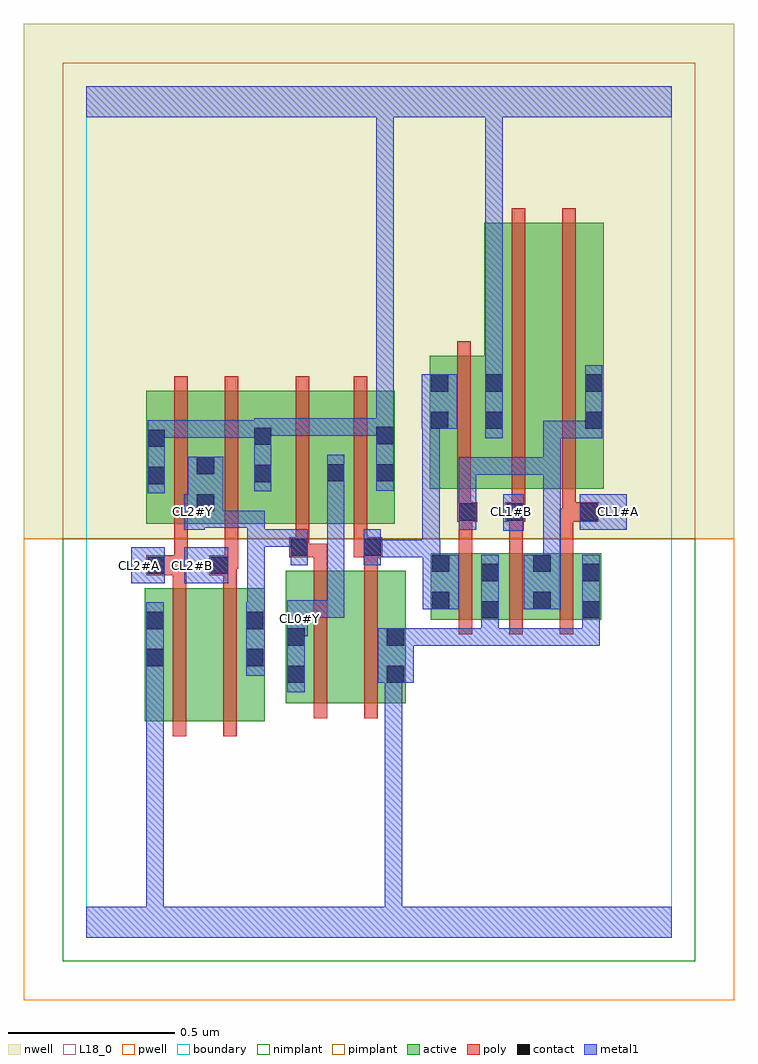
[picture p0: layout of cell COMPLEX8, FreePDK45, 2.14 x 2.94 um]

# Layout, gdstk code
import gdstk
lib = gdstk.Library(unit=1e-6, precision=1e-09)
def R(c, l, rs):  # rectangles x0, y0, x1, y1
    for r in rs: c.add(gdstk.rectangle(r[:2], r[2:], *l))
def A(c, l, x, y, w, h, nx, ny, dx, dy):  # array of equal rectangles
    R(c, l, [(x+i*dx, y+j*dy, x+i*dx+w, y+j*dy+h) for i in range(nx) for j in range(ny)])
active = (1, 0)
pwell = (2, 0)
nwell = (3, 0)
nimplant = (4, 0)
pimplant = (5, 0)
poly = (9, 0)
contact = (10, 0)
metal1 = (11, 0)
L18_0 = (18, 0)
boundary = (235, 0)

complex8 = lib.new_cell('COMPLEX8')
R(complex8, active, [(0.176,0.65,0.356,1.05), (0.176,0.65,0.236,1.05), (0.356,0.65,0.536,1.05), (0.6,0.704,0.78,1.104), (0.78,0.704,0.96,1.104), (0.476,0.756,0.536,1.05), (0.6,0.756,0.66,1.104), (0.9,0.756,0.96,1.104), (1.036,0.956,1.096,1.156), (1.036,0.956,1.244,1.156), (1.184,0.956,1.244,1.156), (1.184,0.956,1.4,1.156), (1.34,0.956,1.4,1.156), (1.34,0.956,1.548,1.156), (1.488,0.956,1.548,1.156), (0.18,1.244,0.24,1.644), (0.18,1.244,0.388,1.644), (0.328,1.244,0.388,1.644), (0.328,1.244,0.56,1.644), (0.5,1.244,0.56,1.644), (0.5,1.244,0.78,1.644), (0.72,1.244,0.78,1.644), (0.72,1.244,0.928,1.644), (0.868,1.244,0.928,1.644), (1.032,1.35,1.092,1.698), (1.032,1.35,1.256,1.75), (1.196,1.35,1.256,1.698), (1.196,1.35,1.376,2.15), (1.376,1.35,1.556,2.15), (1.496,1.35,1.556,2.044)])
R(complex8, pwell, [(-0.188,-0.188,1.948,1.2)])
R(complex8, nwell, [(-0.188,1.2,1.948,2.748)])
R(complex8, nimplant, [(-0.072,-0.072,1.832,1.2)])
R(complex8, pimplant, [(-0.072,1.2,1.832,2.632)])
A(complex8, poly, 1.12, 0.912, 0.04, 0.288, 3, 1, 0.152, 0)
A(complex8, poly, 1.12, 1.16, 0.04, 0.13, 3, 1, 0.152, 0)
R(complex8, poly, [(0.26,0.606,0.3,1.094), (0.412,0.606,0.452,1.094), (0.684,0.66,0.724,1.148), (0.836,0.66,0.876,1.148), (0.26,1.054,0.3,1.13), (0.412,1.054,0.452,1.13), (0.18,1.09,0.3,1.15), (0.37,1.09,0.452,1.15), (0.684,1.108,0.724,1.184), (0.836,1.108,0.876,1.184), (0.26,1.11,0.3,1.15), (0.26,1.11,0.304,1.15), (0.264,1.11,0.304,1.24), (0.412,1.11,0.452,1.15), (0.412,1.11,0.456,1.15), (0.416,1.11,0.456,1.24), (0.61,1.144,0.67,1.204), (0.63,1.144,0.67,1.184), (0.63,1.144,0.724,1.184), (0.804,1.144,0.89,1.204), (0.836,1.144,0.876,1.184), (0.836,1.144,0.876,1.184), (0.63,1.164,0.67,1.24), (0.804,1.164,0.844,1.24), (0.264,1.2,0.304,1.688), (0.416,1.2,0.456,1.688), (0.63,1.2,0.67,1.688), (0.804,1.2,0.844,1.688), (1.116,1.25,1.176,1.31), (1.12,1.25,1.16,1.29), (1.12,1.25,1.16,1.29), (1.26,1.25,1.32,1.31), (1.424,1.25,1.472,1.29), (1.432,1.25,1.472,1.29), (1.432,1.25,1.54,1.31), (1.116,1.27,1.156,1.346), (1.28,1.27,1.32,1.346), (1.28,1.27,1.32,1.31), (1.28,1.27,1.32,1.31), (1.432,1.27,1.472,1.346), (1.116,1.306,1.156,1.794), (1.28,1.306,1.32,2.194), (1.432,1.306,1.472,2.194)])
R(complex8, contact, [(0.604,0.766,0.656,0.818), (0.904,0.766,0.956,0.818), (0.18,0.816,0.232,0.868), (0.48,0.816,0.532,0.868), (0.604,0.878,0.656,0.93), (0.904,0.878,0.956,0.93), (0.18,0.928,0.232,0.98), (0.48,0.928,0.532,0.98), (1.188,0.96,1.24,1.012), (1.492,0.96,1.544,1.012), (1.04,0.988,1.092,1.04), (1.344,0.988,1.396,1.04), (1.188,1.072,1.24,1.124), (1.492,1.072,1.544,1.124), (0.184,1.094,0.236,1.146), (0.374,1.094,0.426,1.146), (1.04,1.1,1.092,1.152), (1.344,1.1,1.396,1.152), (0.614,1.148,0.666,1.2), (0.834,1.148,0.886,1.2), (1.12,1.254,1.172,1.306), (1.264,1.254,1.316,1.306), (1.484,1.254,1.536,1.306), (0.332,1.282,0.384,1.334), (0.184,1.364,0.236,1.416), (0.504,1.37,0.556,1.422), (0.724,1.372,0.776,1.424), (0.872,1.372,0.924,1.424), (0.332,1.394,0.384,1.446), (0.184,1.476,0.236,1.528), (0.504,1.482,0.556,1.534), (0.872,1.484,0.924,1.536), (1.036,1.53,1.088,1.582), (1.2,1.53,1.252,1.582), (1.5,1.53,1.552,1.582), (1.036,1.642,1.088,1.694), (1.2,1.642,1.252,1.694), (1.5,1.642,1.552,1.694)])
R(complex8, metal1, [(0,0,1.76,0.092), (0.18,0.04,0.232,0.092), (0.18,0.04,0.232,0.092), (0.18,0.04,0.232,0.092), (0.18,0.04,0.232,0.092), (0.18,0.04,0.232,0.092), (0.18,0.04,0.232,0.092), (0.18,0.04,0.232,0.092), (0.18,0.04,0.232,0.092), (0.18,0.04,0.232,0.092), (0.18,0.04,0.232,0.092), (0.18,0.04,0.232,0.092), (0.18,0.04,0.232,0.092), (0.18,0.04,0.232,0.84), (0.898,0.04,0.95,0.092), (0.898,0.04,0.95,0.092), (0.898,0.04,0.95,0.092), (0.898,0.04,0.95,0.092), (0.898,0.04,0.95,0.818), (0.604,0.738,0.656,0.958), (0.876,0.766,0.984,0.93), (0.898,0.766,0.95,0.818), (0.898,0.766,0.95,0.818), (0.898,0.766,0.95,0.818), (0.898,0.766,0.95,0.818), (0.898,0.766,0.95,0.818), (0.898,0.766,0.95,0.818), (0.898,0.766,0.95,0.818), (0.898,0.766,0.95,0.818), (0.18,0.788,0.232,1.008), (0.48,0.788,0.536,1.008), (0.932,0.878,1.062,0.93), (1.01,0.878,1.062,0.93), (1.01,0.878,1.062,0.93), (1.01,0.878,1.062,0.93), (1.01,0.878,1.062,0.93), (1.01,0.878,1.062,0.93), (1.01,0.878,1.172,0.93), (1.12,0.878,1.172,0.93), (1.12,0.878,1.24,0.93), (1.188,0.878,1.35,0.93), (1.188,0.878,1.24,1.152), (1.298,0.878,1.35,0.93), (1.298,0.878,1.35,0.93), (1.298,0.878,1.35,0.93), (1.298,0.878,1.544,0.93), (1.492,0.878,1.544,0.984), (0.604,0.906,0.656,0.958), (0.604,0.906,0.666,1.014), (1.492,0.932,1.544,0.984), (1.492,0.932,1.544,1.152), (0.484,0.956,0.536,1.008), (0.484,0.956,0.536,1.008), (0.484,0.956,0.536,1.228), (0.614,0.962,0.776,1.014), (0.724,0.962,0.776,1.014), (0.724,0.962,0.776,1.014), (0.724,0.962,0.776,1.014), (0.724,0.962,0.776,1.014), (0.724,0.962,0.776,1.014), (0.724,0.962,0.776,1.396), (1.012,0.988,1.12,1.152), (1.316,0.988,1.426,1.152), (0.134,1.066,0.236,1.174), (0.294,1.066,0.426,1.174), (1.012,1.1,1.064,1.196), (1.374,1.1,1.426,1.152), (1.374,1.1,1.426,1.152), (1.374,1.1,1.426,1.444), (0.614,1.12,0.666,1.228), (0.834,1.12,0.886,1.228), (0.834,1.144,1.062,1.196), (1.01,1.144,1.062,1.196), (1.01,1.144,1.062,1.196), (1.01,1.144,1.062,1.196), (1.01,1.144,1.062,1.196), (1.01,1.144,1.062,1.582), (1.01,1.144,1.064,1.196), (0.484,1.176,0.536,1.284), (0.484,1.176,0.666,1.228), (0.614,1.176,0.666,1.228), (0.614,1.176,0.666,1.228), (1.254,1.224,1.316,1.334), (0.294,1.226,0.356,1.334), (1.12,1.226,1.172,1.334), (1.484,1.226,1.626,1.334), (0.304,1.232,0.356,1.284), (0.304,1.232,0.356,1.284), (0.304,1.232,0.536,1.284), (0.304,1.282,0.356,1.334), (0.304,1.282,0.412,1.446), (1.12,1.282,1.172,1.334), (1.12,1.282,1.172,1.444), (0.184,1.336,0.236,1.556), (0.504,1.342,0.556,1.562), (0.724,1.344,0.776,1.452), (0.872,1.344,0.924,1.564), (1.12,1.392,1.426,1.444), (1.374,1.392,1.426,1.444), (1.374,1.392,1.426,1.444), (1.374,1.392,1.426,1.444), (1.374,1.392,1.426,1.554), (1.2,1.502,1.252,1.722), (1.374,1.502,1.426,1.554), (1.374,1.502,1.552,1.554), (1.5,1.502,1.552,1.554), (1.5,1.502,1.552,1.554), (1.5,1.502,1.552,1.722), (0.184,1.504,0.236,1.556), (0.184,1.504,0.236,1.556), (0.184,1.504,0.422,1.556), (0.37,1.504,0.422,1.556), (0.37,1.504,0.422,1.556), (0.37,1.504,0.422,1.556), (0.37,1.504,0.556,1.556), (0.504,1.504,0.556,1.556), (0.504,1.504,0.556,1.556), (0.504,1.51,0.776,1.562), (0.724,1.51,0.776,1.562), (0.724,1.51,0.776,1.562), (0.724,1.51,0.776,1.562), (0.724,1.51,0.924,1.562), (0.872,1.51,0.924,1.562), (0.872,1.51,0.924,1.562), (0.872,1.512,0.924,1.564), (0.872,1.512,0.924,1.564), (0.872,1.512,0.924,1.564), (0.872,1.512,0.924,1.564), (0.872,1.512,0.924,1.564), (0.872,1.512,0.924,1.564), (0.872,1.512,0.924,2.52), (1.008,1.53,1.116,1.694), (1.2,1.67,1.252,2.52), (0,2.468,1.76,2.56), (0.872,2.468,0.924,2.52), (0.872,2.468,0.924,2.52), (0.872,2.468,0.924,2.52), (0.872,2.468,0.924,2.52), (0.872,2.468,0.924,2.52), (0.872,2.468,0.924,2.52), (0.872,2.468,0.924,2.52), (0.872,2.468,0.924,2.52), (0.872,2.468,0.924,2.52), (0.872,2.468,0.924,2.52), (1.2,2.468,1.252,2.52), (1.2,2.468,1.252,2.52), (1.2,2.468,1.252,2.52), (1.2,2.468,1.252,2.52), (1.2,2.468,1.252,2.52), (1.2,2.468,1.252,2.52), (1.2,2.468,1.252,2.52), (1.2,2.468,1.252,2.52)])
R(complex8, L18_0, [(0,0,1.76,0.092), (0.18,0.04,0.232,0.092), (0.18,0.04,0.232,0.092), (0.18,0.04,0.232,0.092), (0.18,0.04,0.232,0.092), (0.18,0.04,0.232,0.092), (0.18,0.04,0.232,0.092), (0.18,0.04,0.232,0.092), (0.18,0.04,0.232,0.092), (0.18,0.04,0.232,0.092), (0.18,0.04,0.232,0.092), (0.18,0.04,0.232,0.092), (0.18,0.04,0.232,0.092), (0.18,0.04,0.232,0.84), (0.898,0.04,0.95,0.092), (0.898,0.04,0.95,0.092), (0.898,0.04,0.95,0.092), (0.898,0.04,0.95,0.092), (0.898,0.04,0.95,0.818), (0.604,0.738,0.656,0.958), (0.876,0.766,0.984,0.93), (0.898,0.766,0.95,0.818), (0.898,0.766,0.95,0.818), (0.898,0.766,0.95,0.818), (0.898,0.766,0.95,0.818), (0.898,0.766,0.95,0.818), (0.898,0.766,0.95,0.818), (0.898,0.766,0.95,0.818), (0.898,0.766,0.95,0.818), (0.18,0.788,0.232,1.008), (0.48,0.788,0.536,1.008), (0.932,0.878,1.062,0.93), (1.01,0.878,1.062,0.93), (1.01,0.878,1.062,0.93), (1.01,0.878,1.062,0.93), (1.01,0.878,1.062,0.93), (1.01,0.878,1.062,0.93), (1.01,0.878,1.172,0.93), (1.12,0.878,1.172,0.93), (1.12,0.878,1.24,0.93), (1.188,0.878,1.35,0.93), (1.188,0.878,1.24,1.152), (1.298,0.878,1.35,0.93), (1.298,0.878,1.35,0.93), (1.298,0.878,1.35,0.93), (1.298,0.878,1.544,0.93), (1.492,0.878,1.544,0.984), (0.604,0.906,0.656,0.958), (0.604,0.906,0.666,1.014), (1.492,0.932,1.544,0.984), (1.492,0.932,1.544,1.152), (0.614,0.934,0.666,0.986), (0.484,0.956,0.536,1.008), (0.484,0.956,0.536,1.008), (0.484,0.956,0.536,1.228), (0.614,0.962,0.776,1.014), (0.724,0.962,0.776,1.014), (0.724,0.962,0.776,1.014), (0.724,0.962,0.776,1.014), (0.724,0.962,0.776,1.014), (0.724,0.962,0.776,1.014), (0.724,0.962,0.776,1.396), (0.134,1.066,0.236,1.174), (0.294,1.066,0.426,1.174), (0.134,1.094,0.186,1.146), (0.294,1.094,0.346,1.146), (0.614,1.12,0.666,1.228), (0.484,1.176,0.536,1.284), (0.484,1.176,0.666,1.228), (0.614,1.176,0.666,1.228), (0.614,1.176,0.666,1.228), (1.254,1.224,1.316,1.334), (0.294,1.226,0.356,1.334), (1.484,1.226,1.626,1.334), (0.304,1.232,0.356,1.284), (0.304,1.232,0.356,1.284), (0.304,1.232,0.536,1.284), (0.294,1.254,0.346,1.306), (1.254,1.254,1.306,1.306), (1.574,1.254,1.626,1.306), (0.304,1.282,0.356,1.334), (0.304,1.282,0.412,1.446), (0.184,1.336,0.236,1.556), (0.504,1.342,0.556,1.562), (0.724,1.344,0.776,1.452), (0.872,1.344,0.924,1.564), (1.2,1.502,1.252,1.722), (0.184,1.504,0.236,1.556), (0.184,1.504,0.236,1.556), (0.184,1.504,0.422,1.556), (0.37,1.504,0.422,1.556), (0.37,1.504,0.422,1.556), (0.37,1.504,0.422,1.556), (0.37,1.504,0.556,1.556), (0.504,1.504,0.556,1.556), (0.504,1.504,0.556,1.556), (0.504,1.51,0.776,1.562), (0.724,1.51,0.776,1.562), (0.724,1.51,0.776,1.562), (0.724,1.51,0.776,1.562), (0.724,1.51,0.924,1.562), (0.872,1.51,0.924,1.562), (0.872,1.51,0.924,1.562), (0.872,1.512,0.924,1.564), (0.872,1.512,0.924,1.564), (0.872,1.512,0.924,1.564), (0.872,1.512,0.924,1.564), (0.872,1.512,0.924,1.564), (0.872,1.512,0.924,1.564), (0.872,1.512,0.924,2.52), (1.2,1.67,1.252,2.52), (0,2.468,1.76,2.56), (0.872,2.468,0.924,2.52), (0.872,2.468,0.924,2.52), (0.872,2.468,0.924,2.52), (0.872,2.468,0.924,2.52), (0.872,2.468,0.924,2.52), (0.872,2.468,0.924,2.52), (0.872,2.468,0.924,2.52), (0.872,2.468,0.924,2.52), (0.872,2.468,0.924,2.52), (0.872,2.468,0.924,2.52), (1.2,2.468,1.252,2.52), (1.2,2.468,1.252,2.52), (1.2,2.468,1.252,2.52), (1.2,2.468,1.252,2.52), (1.2,2.468,1.252,2.52), (1.2,2.468,1.252,2.52), (1.2,2.468,1.252,2.52), (1.2,2.468,1.252,2.52)])
R(complex8, boundary, [(0,0,1.76,2.56)])
complex8.add(gdstk.Label('CL0#Y', (0.64,0.96), layer=11, texttype=0))
complex8.add(gdstk.Label('CL1#A', (1.6,1.28), layer=11, texttype=0))
complex8.add(gdstk.Label('CL1#B', (1.28,1.28), layer=11, texttype=0))
complex8.add(gdstk.Label('CL2#A', (0.16,1.12), layer=11, texttype=0))
complex8.add(gdstk.Label('CL2#B', (0.32,1.12), layer=11, texttype=0))
complex8.add(gdstk.Label('CL2#Y', (0.32,1.28), layer=11, texttype=0))

lib.write_gds('COMPLEX8.gds')
